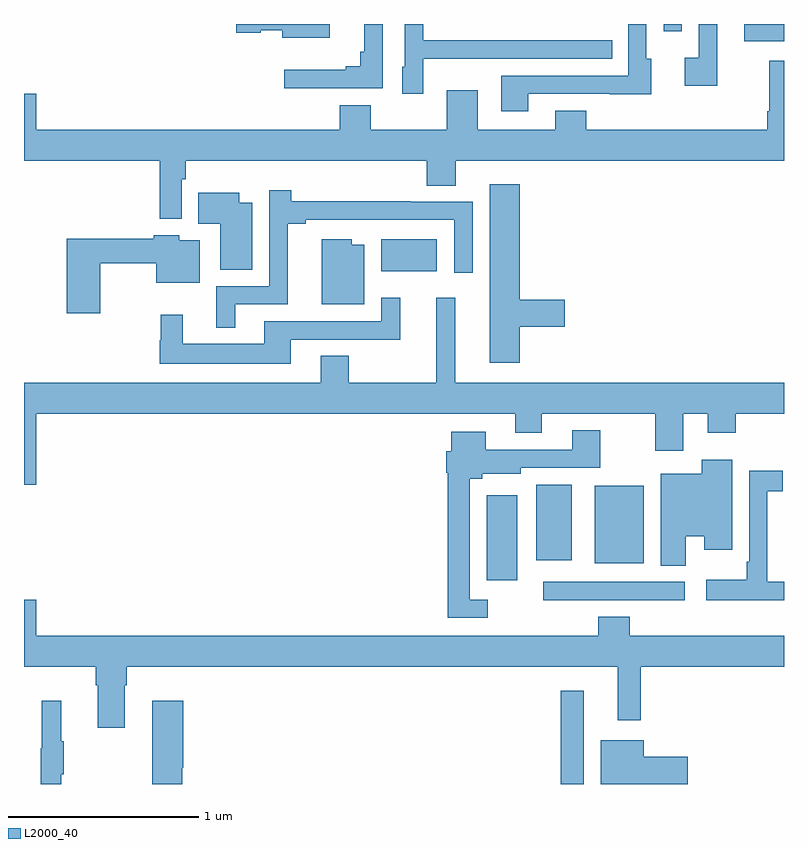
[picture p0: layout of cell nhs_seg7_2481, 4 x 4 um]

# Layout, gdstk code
import gdstk
lib = gdstk.Library(unit=1e-6, precision=1e-09)
def R(c, l, rs):  # rectangles x0, y0, x1, y1
    for r in rs: c.add(gdstk.rectangle(r[:2], r[2:], *l))
def P(c, l, *ps):  # polygons
    for p in ps: c.add(gdstk.Polygon(p, *l))
L2000_40 = (2000, 40)

nhs_seg7_2481 = lib.new_cell('nhs_seg7_2481')
R(nhs_seg7_2481, L2000_40, [(275.826,1000,275.947,1000.492), (275.733,1000.968,276.478,1001.064), (275.435,1001.073,275.596,1001.521), (276.005,1001.162,276.262,1001.569), (275.696,1001.177,275.884,1001.575), (274.88,1002.698,275.173,1002.868), (276.791,1003.91,277,1004), (276.366,1003.962,276.462,1004)])
P(nhs_seg7_2481, L2000_40, [(276.649,1004),(276.552,1004),(276.552,1003.822),(276.477,1003.822),(276.477,1003.674),(276.649,1003.674)],
  [(275.1,1003.817),(275.417,1003.817),(275.417,1003.818),(276.095,1003.818),(276.095,1003.914),(275.1,1003.914),(275.1,1004),(275.004,1004),(275.004,1003.776),(274.991,1003.776),(274.991,1003.632),(275.1,1003.632)],
  [(274.887,1004),(274.79,1004),(274.79,1003.855),(274.771,1003.855),(274.771,1003.778),(274.694,1003.778),(274.694,1003.759),(274.371,1003.759),(274.371,1003.662),(274.887,1003.662)],
  [(275.653,1003.632),(276.083,1003.632),(276.083,1003.631),(276.301,1003.631),(276.301,1003.818),(276.276,1003.818),(276.276,1004),(276.18,1004),(276.18,1003.728),(275.513,1003.728),(275.513,1003.542),(275.653,1003.542)],
  [(274.609,1004),(274.116,1004),(274.116,1003.955),(274.245,1003.955),(274.245,1003.967),(274.358,1003.967),(274.358,1003.928),(274.609,1003.928)],
  [(273.831,1003.184),(273.851,1003.184),(273.851,1003.28),(275.12,1003.28),(275.12,1003.15),(275.272,1003.15),(275.272,1003.28),(277,1003.28),(277,1003.807),(276.923,1003.807),(276.923,1003.54),(276.911,1003.54),(276.911,1003.444),(275.959,1003.444),(275.959,1003.543),(275.795,1003.543),(275.795,1003.444),(275.389,1003.444),(275.389,1003.651),(275.225,1003.651),(275.225,1003.444),(274.825,1003.444),(274.825,1003.573),(274.661,1003.573),(274.661,1003.444),(273.064,1003.444),(273.064,1003.633),(273,1003.633),(273,1003.28),(273.715,1003.28),(273.715,1002.974),(273.831,1002.974)],
  [(275.609,1002.406),(275.845,1002.406),(275.845,1002.548),(275.609,1002.548),(275.609,1003.156),(275.45,1003.156),(275.45,1002.216),(275.609,1002.216)],
  [(274.111,1002.525),(274.388,1002.525),(274.388,1002.949),(274.483,1002.949),(274.483,1002.969),(275.265,1002.969),(275.265,1002.69),(275.361,1002.69),(275.361,1003.065),(275.036,1003.065),(275.036,1003.067),(274.406,1003.067),(274.406,1003.126),(274.29,1003.126),(274.29,1002.621),(274.013,1002.621),(274.013,1002.401),(274.111,1002.401)],
  [(274.201,1003.06),(274.132,1003.06),(274.132,1003.111),(273.916,1003.111),(273.916,1002.95),(274.034,1002.95),(274.034,1002.706),(274.201,1002.706)],
  [(273.402,1002.742),(273.695,1002.742),(273.695,1002.638),(273.925,1002.638),(273.925,1002.862),(273.816,1002.862),(273.816,1002.889),(273.683,1002.889),(273.683,1002.871),(273.224,1002.871),(273.224,1002.477),(273.402,1002.477)],
  [(274.792,1002.838),(274.726,1002.838),(274.726,1002.868),(274.568,1002.868),(274.568,1002.524),(274.792,1002.524)],
  [(274.405,1002.339),(274.979,1002.339),(274.979,1002.559),(274.881,1002.559),(274.881,1002.435),(274.265,1002.435),(274.265,1002.316),(273.835,1002.316),(273.835,1002.469),(273.721,1002.469),(273.721,1002.336),(273.714,1002.336),(273.714,1002.212),(274.405,1002.212)],
  [(275.171,1002.559),(275.171,1002.112),(274.71,1002.112),(274.71,1002.254),(274.562,1002.254),(274.562,1002.112),(273,1002.112),(273,1001.574),(273.064,1001.574),(273.064,1001.948),(275.585,1001.948),(275.585,1001.849),(275.725,1001.849),(275.725,1001.948),(276.322,1001.948),(276.322,1001.754),(276.469,1001.754),(276.469,1001.948),(276.599,1001.948),(276.599,1001.849),(276.747,1001.849),(276.747,1001.948),(277,1001.948),(277,1002.112),(275.27,1002.112),(275.27,1002.559)],
  [(275.44,1000.971),(275.346,1000.971),(275.346,1001.606),(275.412,1001.606),(275.412,1001.633),(275.614,1001.633),(275.614,1001.664),(276.033,1001.664),(276.033,1001.863),(275.885,1001.863),(275.885,1001.76),(275.431,1001.76),(275.431,1001.854),(275.249,1001.854),(275.249,1001.751),(275.222,1001.751),(275.222,1001.637),(275.23,1001.637),(275.23,1000.875),(275.44,1000.875)],
  [(276.484,1001.303),(276.581,1001.303),(276.581,1001.232),(276.727,1001.232),(276.727,1001.707),(276.566,1001.707),(276.566,1001.632),(276.35,1001.632),(276.35,1001.149),(276.484,1001.149)],
  [(277,1001.064),(276.912,1001.064),(276.912,1001.541),(276.994,1001.541),(276.994,1001.65),(276.816,1001.65),(276.816,1001.17),(276.804,1001.17),(276.804,1001.074),(276.591,1001.074),(276.591,1000.967),(277,1000.967)],
  [(273.529,1000.52),(273.542,1000.52),(273.542,1000.616),(276.125,1000.616),(276.125,1000.335),(276.247,1000.335),(276.247,1000.616),(277,1000.616),(277,1000.78),(276.188,1000.78),(276.188,1000.879),(276.023,1000.879),(276.023,1000.78),(273.064,1000.78),(273.064,1000.969),(273,1000.969),(273,1000.616),(273.377,1000.616),(273.377,1000.52),(273.389,1000.52),(273.389,1000.296),(273.529,1000.296)],
  [(273.833,1000.086),(273.838,1000.086),(273.838,1000.438),(273.674,1000.438),(273.674,1000),(273.833,1000)],
  [(273.197,1000.051),(273.208,1000.051),(273.208,1000.225),(273.197,1000.225),(273.197,1000.438),(273.094,1000.438),(273.094,1000.188),(273.087,1000.188),(273.087,1000),(273.197,1000)],
  [(276.493,1000.143),(276.262,1000.143),(276.262,1000.231),(276.035,1000.231),(276.035,1000),(276.493,1000)])

lib.write_gds('nhs_seg7_2481.gds')
